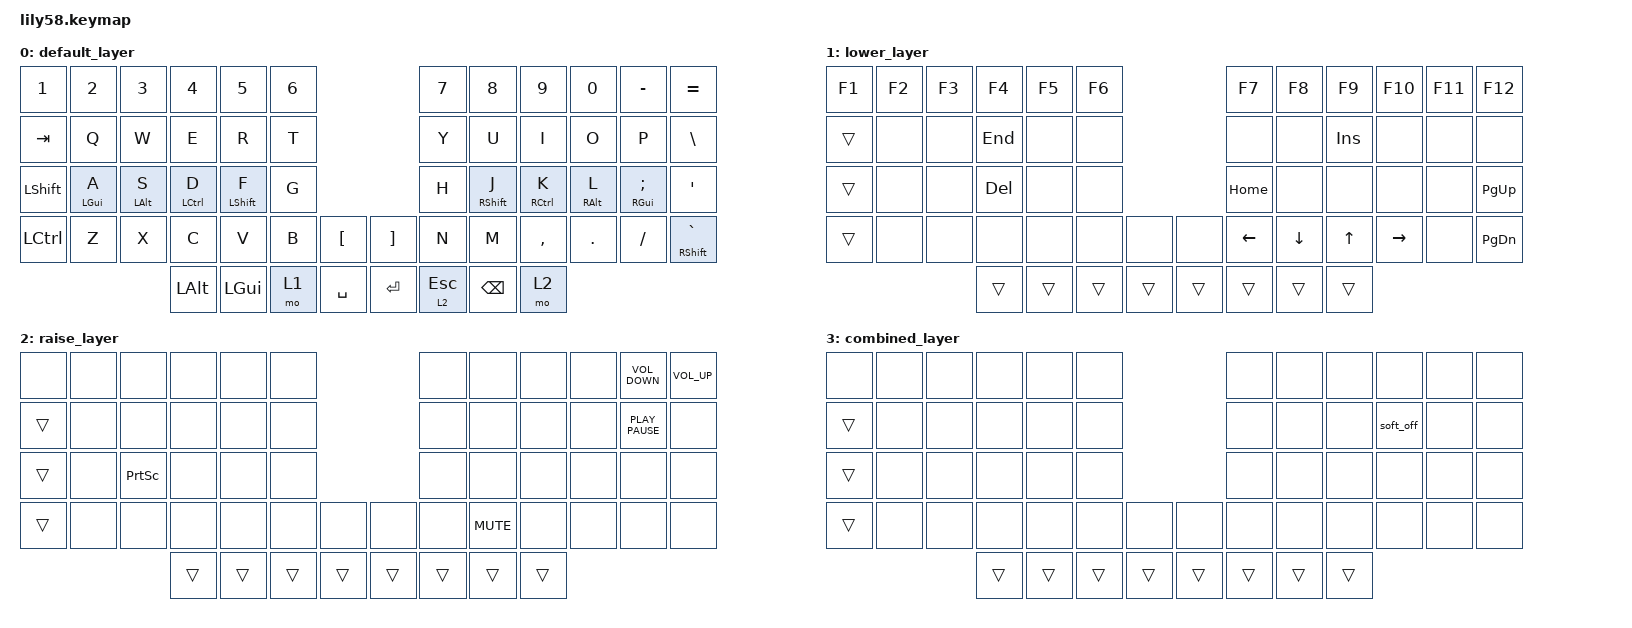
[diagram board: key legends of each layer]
#include <behaviors.dtsi>
#include <dt-bindings/zmk/keys.h>

/ {
    combos {
        compatible = "zmk,combos";

        semi {
            bindings = <&kp SEMI>;
            key-positions = <47 46>;
            layers = <0>;
        };
    };

    behaviors {
        hrml: home_row_mod_left {
            compatible = "zmk,behavior-hold-tap";
            label = "HOME_ROW_MOD_LEFT";
            bindings = <&kp>, <&kp>;

            #binding-cells = <2>;
            tapping-term-ms = <250>;
            quick-tap-ms = <200>;
            flavor = "tap-preferred";
            hold-trigger-on-release;
            hold-trigger-key-positions = <6 7 8 9 10 11 18 19 20 21 22 23 30 31 32 33 34 35 43 44 45 46 47 48 49 54 55 56 57>;
        };

        hrmr: home_row_mod_right {
            compatible = "zmk,behavior-hold-tap";
            label = "HOME_ROW_MOD_RIGHT";
            bindings = <&kp>, <&kp>;

            #binding-cells = <2>;
            tapping-term-ms = <250>;
            quick-tap-ms = <200>;
            flavor = "tap-preferred";
            hold-trigger-on-release;
            hold-trigger-key-positions = <0 1 2 3 4 5 12 13 14 15 16 17 24 25 26 27 28 29 36 37 38 39 40 41 42 50 51 52 53>;
        };

        mor: momentary_layer_right {
            compatible = "zmk,behavior-hold-tap";
            label = "momentary_layer_right";
            bindings = <&mo>, <&kp>;

            #binding-cells = <2>;
            tapping-term-ms = <250>;
            quick-tap-ms = <200>;
            flavor = "tap-preferred";
            hold-trigger-on-release;
            hold-trigger-key-positions = <0 1 2 3 4 5 12 13 14 15 16 17 24 25 26 27 28 29 36 37 38 39 40 41 42 50 51 52 53>;
        };

        mol: momentary_layer_left {
            compatible = "zmk,behavior-hold-tap";
            label = "momentary_layer_left";
            bindings = <&mo>, <&kp>;

            #binding-cells = <2>;
            tapping-term-ms = <250>;
            quick-tap-ms = <200>;
            flavor = "tap-preferred";
            hold-trigger-on-release;
            hold-trigger-key-positions = <6 7 8 9 10 11 18 19 20 21 22 23 30 31 32 33 34 35 43 44 45 46 47 48 49 54 55 56 57>;
        };
    };

    keymap {
        compatible = "zmk,keymap";

        default_layer {
            // ------------------------------------------------------------------------------------------------------------
            // |  ESC  |  1  |  2  |  3   |  4   |  5   |                   |  6   |  7    |  8    |  9   |   0   |   `   |
            // |  TAB  |  Q  |  W  |  E   |  R   |  T   |                   |  Y   |  U    |  I    |  O   |   P   |   -   |
            // |  CTRL |  A  |  S  |  D   |  F   |  G   |                   |  H   |  J    |  K    |  L   |   ;   |   '   |
            // | SHIFT |  Z  |  X  |  C   |  V   |  B   |   "["  |  |  "]"  |  N   |  M    |  ,    |  .   |   /   | SHIFT |
            //                     | ALT  | GUI  | LOWER|  SPACE |  | ENTER | RAISE| BSPC  | GUI   |

            bindings = <
&kp N1      &kp N2        &kp N3        &kp N4         &kp N5          &kp N6                         &kp N7      &kp N8          &kp N9         &kp N0        &kp MINUS        &kp EQUAL
&kp TAB     &kp Q         &kp W         &kp E          &kp R           &kp T                          &kp Y       &kp U           &kp I          &kp O         &kp P            &kp BSLH
&kp LSHIFT  &hrml LGUI A  &hrml LALT S  &hrml LCTRL D  &hrml LSHIFT F  &kp G                          &kp H       &hrmr RSHIFT J  &hrmr RCTRL K  &hrmr RALT L  &hrmr RGUI SEMI  &kp SQT
&kp LCTRL   &kp Z         &kp X         &kp C          &kp V           &kp B   &kp LBKT     &kp RBKT  &kp N       &kp M           &kp COMMA      &kp DOT       &kp FSLH         &mt RSHIFT GRAVE
                                        &kp LALT       &kp LGUI        &mo 1   &kp SPACE    &kp RET   &mor 2 ESC  &kp BSPC        &mo 2
            >;
        };

        lower_layer {
            // ------------------------------------------------------------------------------------------------------------
            // | BTCLR | BT1 | BT2 |  BT3 |  BT4 |  BT5 |                   |      |       |       |      |       |       |
            // |  F1   |  F2 |  F3 |  F4  |  F5  |  F6  |                   |  F7  |  F8   |  F9   |  F10 |  F11  |  F12  |
            // |   `   |  !  |  @  |  #   |  $   |  %   |                   |  ^   |  &    |  *    |  (   |   )   |   ~   |
            // |       |     |     |      |      |      |        |  |       |      |  _    |  +    |  {   |   }   |  "|"  |
            //                     |      |      |      |        |  |       |      |       |       |

            bindings = <
&kp F1  &kp F2  &kp F3  &kp F4   &kp F5  &kp F6                    &kp F7    &kp F8    &kp F9   &kp F10    &kp F11  &kp F12
&trans  &none   &none   &kp END  &none   &none                     &none     &none     &kp INS  &none      &none    &none
&trans  &none   &none   &kp DEL  &none   &none                     &kp HOME  &none     &none    &none      &none    &kp PG_UP
&trans  &none   &none   &none    &none   &none   &none     &none   &kp LEFT  &kp DOWN  &kp UP   &kp RIGHT  &none    &kp PG_DN
                        &trans   &trans  &trans  &trans    &trans  &trans    &trans    &trans
            >;
        };

        raise_layer {
            // ------------------------------------------------------------------------------------------------------------
            // |       |     |     |      |      |      |                   |      |       |       |      |       |       |
            // |   `   |  1  |  2  |  3   |  4   |  5   |                   |  6   |   7   |   8   |  9   |   0   |       |
            // |   F1  |  F2 |  F3 |  F4  |  F5  |  F6  |                   |      |   <-  |   v   |  ^   |  ->   |       |
            // |   F7  |  F8 |  F9 |  F10 |  F11 |  F12 |        |  |       |  +   |   -   |   =   |  [   |   ]   |   \   |
            //                     |      |      |      |        |  |       |      |       |       |

            bindings = <
&none   &none  &none            &none   &none   &none                     &none   &none       &none   &none  &kp C_VOLUME_DOWN  &kp C_VOLUME_UP
&trans  &none  &none            &none   &none   &none                     &none   &none       &none   &none  &kp K_PLAY_PAUSE   &none
&trans  &none  &kp PRINTSCREEN  &none   &none   &none                     &none   &none       &none   &none  &none              &none
&trans  &none  &none            &none   &none   &none   &none     &none   &none   &kp K_MUTE  &none   &none  &none              &none
                                &trans  &trans  &trans  &trans    &trans  &trans  &trans      &trans
            >;
        };

        combined_layer {
            bindings = <
&none   &none  &none  &none   &none   &none                     &none   &none   &none   &none      &none  &none
&trans  &none  &none  &none   &none   &none                     &none   &none   &none   &soft_off  &none  &none
&trans  &none  &none  &none   &none   &none                     &none   &none   &none   &none      &none  &none
&trans  &none  &none  &none   &none   &none   &none     &none   &none   &none   &none   &none      &none  &none
                      &trans  &trans  &trans  &trans    &trans  &trans  &trans  &trans
            >;
        };
    };

    conditional_layers {
        compatible = "zmk,conditional-layers";

        combined_layer {
            if-layers = <1 2>;
            then-layer = <3>;
        };
    };
};
